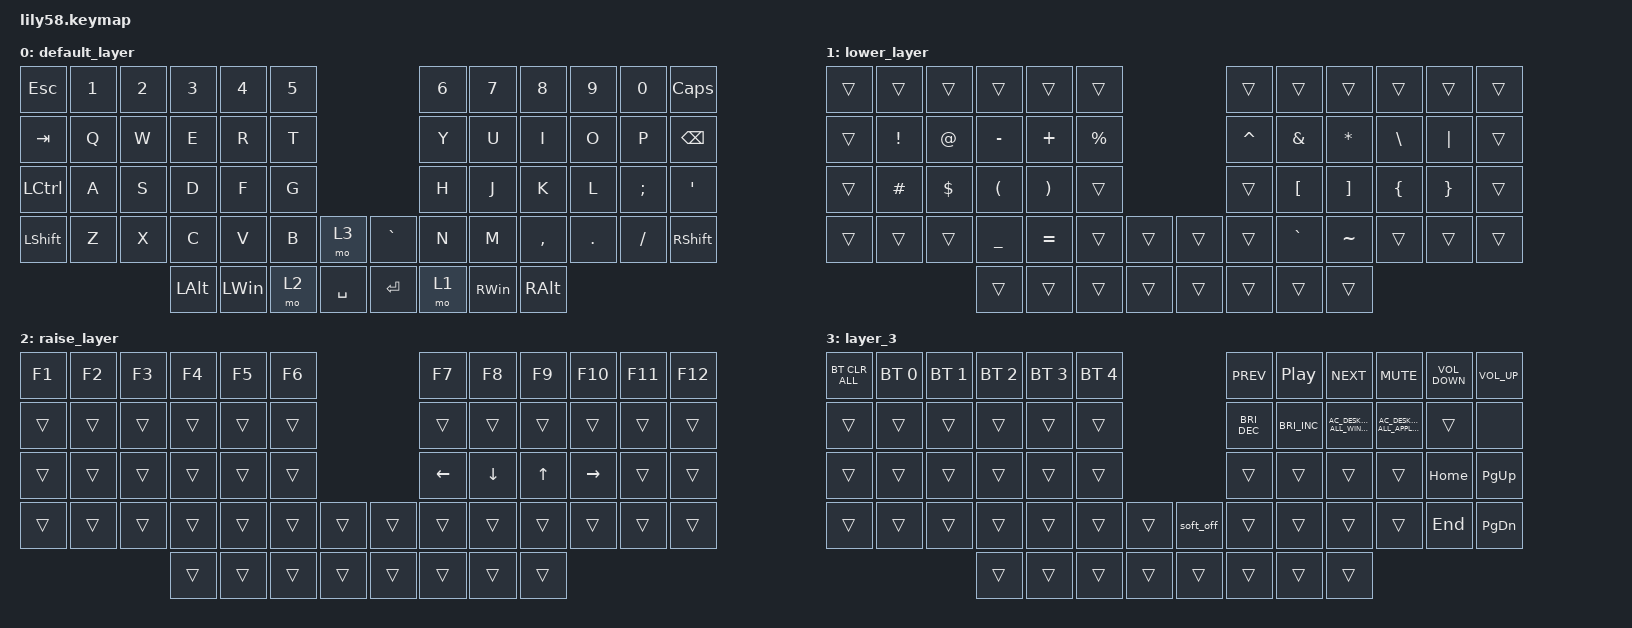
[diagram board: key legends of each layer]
/*
 * Copyright (c) 2020 The ZMK Contributors
 *
 * SPDX-License-Identifier: MIT
 */

#include <behaviors.dtsi>
#include <dt-bindings/zmk/bt.h>
#include <dt-bindings/zmk/keys.h>

&soft_off {
    hold-time-ms = <3000>; // Only turn off it the key is held for 3 seconds or longer.
};

/ {
    // kscan: kscan {
    //     compatible = "zmk,kscan-gpio-matrix";
    //     diode-direction = "col2row";
    //     wakeup-source;
    // };	

    combos { compatible = "zmk,combos"; };

    keymap {
        compatible = "zmk,keymap";

        default_layer {
            // ------------------------------------------------------------------------------------------------------------
            // |  ESC  |  1  |  2  |  3   |  4   |  5   |                   |  6   |  7    |  8    |  9   |   0   |   `   |
            // |  TAB  |  Q  |  W  |  E   |  R   |  T   |                   |  Y   |  U    |  I    |  O   |   P   |   -   |
            // |  CTRL |  A  |  S  |  D   |  F   |  G   |                   |  H   |  J    |  K    |  L   |   ;   |   '   |
            // | SHIFT |  Z  |  X  |  C   |  V   |  B   |   "["  |  |  "]"  |  N   |  M    |  ,    |  .   |   /   | SHIFT |
            //                     | ALT  | GUI  | LOWER|  SPACE |  | ENTER | RAISE| BSPC  | GUI   |

            bindings = <
&kp ESC    &kp N1  &kp N2  &kp N3        &kp N4        &kp N5                          &kp N6  &kp N7         &kp N8         &kp N9   &kp N0    &kp CAPSLOCK
&kp TAB    &kp Q   &kp W   &kp E         &kp R         &kp T                           &kp Y   &kp U          &kp I          &kp O    &kp P     &kp BACKSPACE
&kp LCTRL  &kp A   &kp S   &kp D         &kp F         &kp G                           &kp H   &kp J          &kp K          &kp L    &kp SEMI  &kp SQT
&kp LSHFT  &kp Z   &kp X   &kp C         &kp V         &kp B   &mo 3        &kp GRAVE  &kp N   &kp M          &kp COMMA      &kp DOT  &kp FSLH  &kp RSHFT
                           &kp LEFT_ALT  &kp LEFT_WIN  &mo 2   &kp SPACE    &kp RET    &mo 1   &kp RIGHT_WIN  &kp RIGHT_ALT
            >;
        };

        lower_layer {
            // ------------------------------------------------------------------------------------------------------------
            // | BTCLR | BT1 | BT2 |  BT3 |  BT4 |  BT5 |                   |      |       |       |      |       |       |
            // |  F1   |  F2 |  F3 |  F4  |  F5  |  F6  |                   |  F7  |  F8   |  F9   |  F10 |  F11  |  F12  |
            // |   `   |  !  |  @  |  #   |  $   |  %   |                   |  ^   |  &    |  *    |  (   |   )   |   ~   |
            // |       |     |     |      |      |      |        |  |       |      |  _    |  +    |  {   |   }   |  "|"  |
            //                     |      |      |      |        |  |       |      |       |       |

            bindings = <
&trans  &trans    &trans      &trans                &trans                 &trans                       &trans     &trans            &trans             &trans          &trans           &trans
&trans  &kp EXCL  &kp AT      &kp MINUS             &kp PLUS               &kp PRCNT                    &kp CARET  &kp AMPS          &kp STAR           &kp BSLH        &kp PIPE         &trans
&trans  &kp HASH  &kp DOLLAR  &kp LEFT_PARENTHESIS  &kp RIGHT_PARENTHESIS  &trans                       &trans     &kp LEFT_BRACKET  &kp RIGHT_BRACKET  &kp LEFT_BRACE  &kp RIGHT_BRACE  &trans
&trans  &trans    &trans      &kp UNDER             &kp EQUAL              &trans     &trans    &trans  &trans     &kp GRAVE         &kp TILDE          &trans          &trans           &trans
                              &trans                &trans                 &trans     &trans    &trans  &trans     &trans            &trans
            >;
        };

        raise_layer {
            // ------------------------------------------------------------------------------------------------------------
            // |       |     |     |      |      |      |                   |      |       |       |      |       |       |
            // |   `   |  1  |  2  |  3   |  4   |  5   |                   |  6   |   7   |   8   |  9   |   0   |       |
            // |   F1  |  F2 |  F3 |  F4  |  F5  |  F6  |                   |      |   <-  |   v   |  ^   |  ->   |       |
            // |   F7  |  F8 |  F9 |  F10 |  F11 |  F12 |        |  |       |  +   |   -   |   =   |  [   |   ]   |   \   |
            //                     |      |      |      |        |  |       |      |       |       |

            bindings = <
&kp F1  &kp F2  &kp F3  &kp F4  &kp F5  &kp F6                    &kp F7    &kp F8    &kp F9        &kp F10    &kp F11  &kp F12
&trans  &trans  &trans  &trans  &trans  &trans                    &trans    &trans    &trans        &trans     &trans   &trans
&trans  &trans  &trans  &trans  &trans  &trans                    &kp LEFT  &kp DOWN  &kp UP_ARROW  &kp RIGHT  &trans   &trans
&trans  &trans  &trans  &trans  &trans  &trans  &trans    &trans  &trans    &trans    &trans        &trans     &trans   &trans
                        &trans  &trans  &trans  &trans    &trans  &trans    &trans    &trans
            >;
        };

        layer_3 {
            bindings = <
&bt BT_CLR_ALL  &bt BT_SEL 0  &bt BT_SEL 1  &bt BT_SEL 2  &bt BT_SEL 3  &bt BT_SEL 4                       &kp C_PREV            &kp C_PP              &kp C_NEXT                         &kp C_MUTE                              &kp C_VOLUME_DOWN  &kp C_VOLUME_UP
&trans          &trans        &trans        &trans        &trans        &trans                             &kp C_BRIGHTNESS_DEC  &kp C_BRIGHTNESS_INC  &kp C_AC_DESKTOP_SHOW_ALL_WINDOWS  &kp C_AC_DESKTOP_SHOW_ALL_APPLICATIONS  &trans             &none
&trans          &trans        &trans        &trans        &trans        &trans                             &trans                &trans                &trans                             &trans                                  &kp HOME           &kp PAGE_UP
&trans          &trans        &trans        &trans        &trans        &trans        &trans    &soft_off  &trans                &trans                &trans                             &trans                                  &kp END            &kp PAGE_DOWN
                                            &trans        &trans        &trans        &trans    &trans     &trans                &trans                &trans
            >;
        };
    };
};
